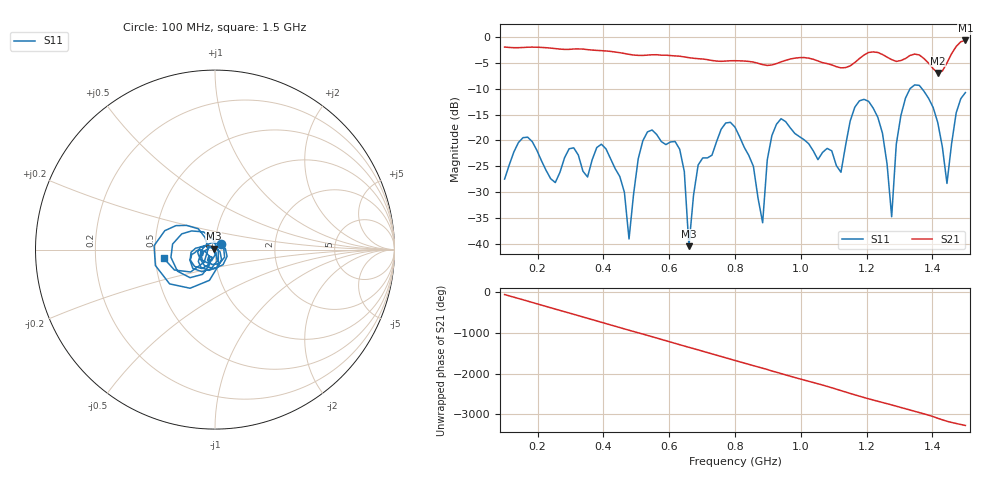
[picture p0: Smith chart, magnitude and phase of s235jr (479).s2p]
! NanoVNA-App
! Date: 2025-09-25 15:07:53
! Start: 100MHz Stop: 1,5GHz Points: 101
! S-Parameter data: F S11 S21 S12 S22
# Hz S RI R 50
!  Frequency  S11_Real  S11_Imag  S21_Real  S21_Imag  S12_Real  S12_Imag  S22_Real  S22_Imag
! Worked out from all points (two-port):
!   101 points, 100 MHz to 1.5 GHz, reference 50 ohm
!   highest |S21| = -0.69 dB at 1.5 GHz (marker M1); lowest = -7.0 dB at 1.416 GHz (marker M2)
!   |S21| within 3 dB of the highest: start of sweep to 621.4 MHz; 1.188 GHz to 1.256 GHz (67.73 MHz wide, 5.54 % of centre) (the widest 2 of 4)
!   lowest |S11| = -40.4 dB at 660 MHz (marker M3), VSWR 1.02, Z = 49.2 + j0.531 ohm
!   |S11| at or under -10 dB: start of sweep to 1.332 GHz; 1.368 GHz to end of sweep
!   S12 and S22 are empty: the file has one direction only
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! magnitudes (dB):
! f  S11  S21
! 100 MHz  -27.5  -2.0
! 170 MHz  -19.4  -2.0
! 338 MHz  -26.0  -2.4
! 408 MHz  -21.6  -2.7
! 478 MHz  -39.0  -3.4
! 520 MHz  -20.1  -3.6
! 576 MHz  -20.2  -3.5
! 632 MHz  -21.7  -3.7
! 660 MHz  -40.4  -4.0
! 688 MHz  -24.8  -4.2
! 800 MHz  -17.4  -4.6
! 884 MHz  -35.9  -5.4
! 926 MHz  -16.9  -5.2
! 1.038 GHz  -22.0  -4.3
! 1.122 GHz  -26.2  -6.0
! 1.206 GHz  -12.5  -3.0
! 1.276 GHz  -34.8  -4.4
! 1.29 GHz  -20.8  -4.7
! 1.332 GHz  -10.0  -3.6
! 1.416 GHz  -16.5  -7.0
! 1.444 GHz  -28.3  -5.0
! 1.5 GHz  -10.8  -0.7
